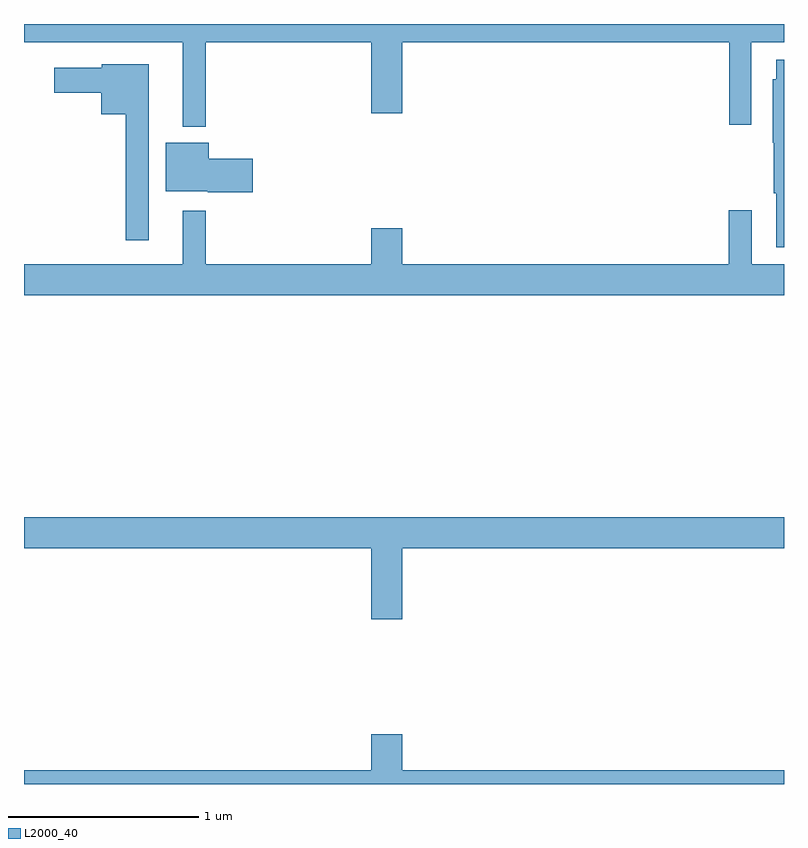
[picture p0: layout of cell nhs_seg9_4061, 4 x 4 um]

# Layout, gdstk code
import gdstk
lib = gdstk.Library(unit=1e-6, precision=1e-09)
def P(c, l, *ps):  # polygons
    for p in ps: c.add(gdstk.Polygon(p, *l))
L2000_40 = (2000, 40)

nhs_seg9_4061 = lib.new_cell('nhs_seg9_4061')
P(nhs_seg9_4061, L2000_40, [(343.957,1212.404),(344.828,1212.404),(344.828,1212.03),(344.992,1212.03),(344.992,1212.404),(346.711,1212.404),(346.711,1211.97),(346.827,1211.97),(346.827,1212.404),(347,1212.404),(347,1212.5),(343,1212.5),(343,1212.404),(343.835,1212.404),(343.835,1211.96),(343.957,1211.96)],
  [(347,1212.313),(346.958,1212.313),(346.958,1212.21),(346.94,1212.21),(346.94,1211.874),(346.946,1211.874),(346.946,1211.608),(346.958,1211.608),(346.958,1211.325),(347,1211.325)],
  [(343.657,1212.289),(343.41,1212.289),(343.41,1212.271),(343.158,1212.271),(343.158,1212.137),(343.406,1212.137),(343.406,1212.026),(343.536,1212.026),(343.536,1211.361),(343.657,1211.361)],
  [(344.203,1211.792),(343.972,1211.792),(343.972,1211.875),(343.745,1211.875),(343.745,1211.621),(343.968,1211.621),(343.968,1211.614),(344.203,1211.614)],
  [(347,1211.236),(346.831,1211.236),(346.831,1211.521),(346.71,1211.521),(346.71,1211.236),(344.992,1211.236),(344.992,1211.425),(344.828,1211.425),(344.828,1211.236),(343.957,1211.236),(343.957,1211.518),(343.835,1211.518),(343.835,1211.236),(343,1211.236),(343,1211.072),(347,1211.072)],
  [(343,1209.74),(344.828,1209.74),(344.828,1209.366),(344.992,1209.366),(344.992,1209.74),(347,1209.74),(347,1209.904),(343,1209.904)],
  [(347,1208.572),(344.992,1208.572),(344.992,1208.761),(344.828,1208.761),(344.828,1208.572),(343,1208.572),(343,1208.5),(347,1208.5)])

lib.write_gds('nhs_seg9_4061.gds')
